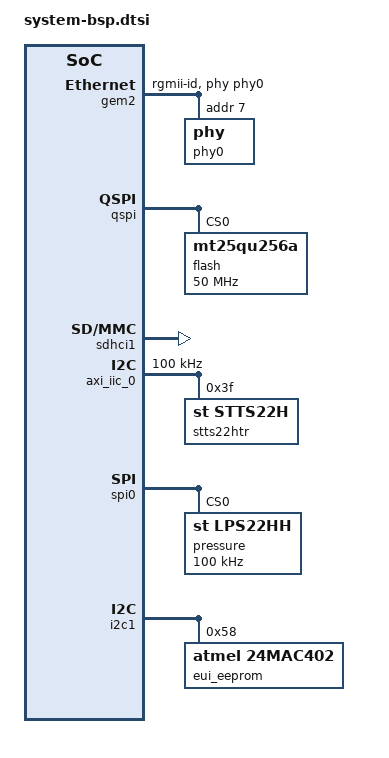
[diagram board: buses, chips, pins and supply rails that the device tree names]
#include "include/dt-bindings/input/input.h"
#include "include/dt-bindings/interrupt-controller/irq.h"
#include "include/dt-bindings/gpio/gpio.h"
#include "include/dt-bindings/pinctrl/pinctrl-zynqmp.h"
#include "include/dt-bindings/phy/phy.h"

/ {
   chosen {
      bootargs = "earlycon console=ttyPS0,115200 clk_ignore_unused root=/dev/mmcblk0p2 rw rootwait cma=512M";
      nvmem0 = &eui_eepromm;
   };

   xlnk {
      compatible = "xlnx,xlnk-1.0";
   };

   aliases {
      mmc0 = &sdhci1;
      mmc1 = &sdhci0;
   };

   gtr_clk0: gtr_clk0 { /* gtr_refclk0_dp - 135MHz */
      compatible = "fixed-clock";
      #clock-cells = <0>;
      clock-frequency = <135000000>;
   };
   pmu {
      /delete-property/ interrupt-affinity;
		interrupt-affinity = <&cpu0>, <&cpu1>;
   };
};

&gem2 {
   status = "okay";
   phy-mode = "rgmii-id";
   
   /delete-property/ local-mac-address;
   nvmem-cells = <&mac_address>;
   nvmem-cell-names = "mac-address";

   phy-handle = <&phy0>;
   phy0: phy@7 {
      reg = <0x7>;
   };
};

/* QSPI partitions are defined with petalinux-config and described in system.conf.dtsi */
&qspi { /* MIO 0-5 - U10 */
   flash@0 { /* ISSI IS25WP256E */
      compatible = "mt25qu256a", "jedec,spi-nor"; /* 32MB */
      #address-cells = <1>;
      #size-cells = <1>;
      reg = <0>;
      spi-tx-bus-width = <1>;
      spi-rx-bus-width = <4>;
      spi-max-frequency = <50000000>; /* 50MHz */
   };

};

/* SD1 for SD card boot */
/* SD1 with level shifter */
/* only supports 3.3V, no level shifter */
&sdhci1 {
   status = "okay";
   no-1-8-v;
   disable-wp;
};

&axi_iic_0 {
   #address-cells = <1>;
   #size-cells = <0>;
   clock-frequency = <100000>;

   stts22htr: stts22htr@3f {
      compatible = "st,stts22h";
      reg = <0x3f>;
   };
};

&spi0 {
   num-cs = <1>;
   pressure@00 {
      compatible = "st,lps22hh";
      reg = <0>;
      spi-max-frequency = <100000>;
   };
};

&i2c1 {
   #address-cells = <1>;
   #size-cells = <0>;
   /* Ethernet MAC ID EEPROM */
   eui_eeprom: eui_eeprom@58 { /* U7 */
      #address-cells = <1>;
      #size-cells = <1>;
      compatible = "atmel,24mac402";
      reg = <0x58>;
      mac_address: mac_address@9A {
         reg = <0x9A 0x6>;
      };
   };
};

&psgtr {
   /* DP */
   clocks = <&gtr_clk0>;
   clock-names = "ref0";
};
